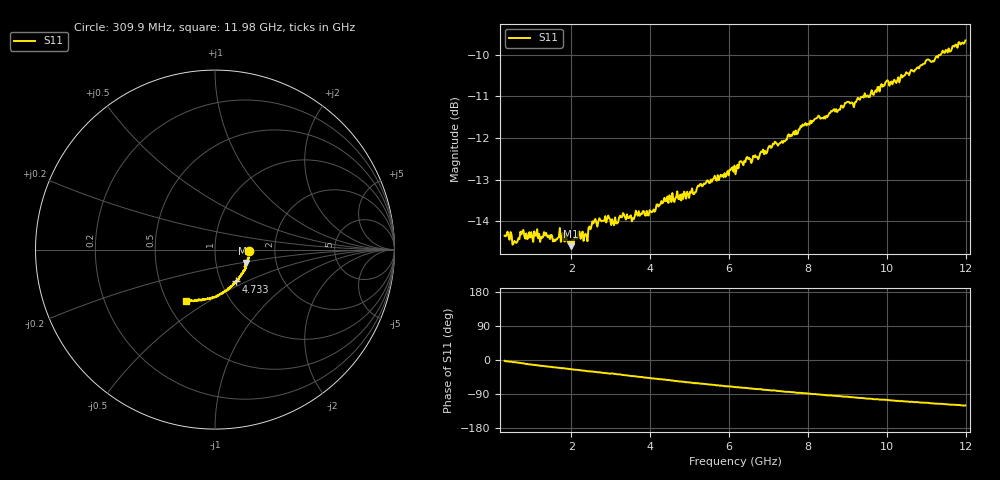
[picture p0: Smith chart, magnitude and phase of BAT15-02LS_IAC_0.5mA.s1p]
! Infineon Technologies  Discrete & RF Semiconductors
! BAT15-02ELS
! IAC = 0.5 mA
! One-Port S-Parameters
# Hz  S  MA  R  50
!f  S11
!Hz  Mag  Ang
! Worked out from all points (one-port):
!   468 points, 309.9 MHz to 11.98 GHz, reference 50 ohm
!   lowest |S11| = -14.6 dB at 1.984 GHz (marker M1), VSWR 1.46, Z = 69.6 - j10.8 ohm
!   |S11| at or under -10 dB: start of sweep to 11.36 GHz
!   S11 on the Smith chart (normalised r, x): 309.9 MHz: 1.47, -0.02; 4.733 GHz: 1.17, -0.44; 11.98 GHz: 0.62, -0.40
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3.0985e8  0.1916 -2.1
4.347875e8  0.1895 -4.3
5.59725e8  0.1889 -5.3
7.59625e8  0.194 -8.7
8.59575e8  0.1929 -10.9
1.10945e9  0.1916 -13.8
1.784112e9  0.1932 -21.5
1.984012e9  0.1862 -23.7
2.233888e9  0.19 -26.9
2.358825e9  0.1926 -28.6
2.583712e9  0.1999 -31.3
2.90855e9  0.2008 -35.3
3.133438e9  0.1984 -37.2
3.233388e9  0.2025 -37.9
3.90805e9  0.2052 -46.6
4.382812e9  0.211 -52.2
4.70765e9  0.2122 -56.1
4.732638e9  0.2119 -56.8
6.156925e9  0.2271 -71.3
6.431788e9  0.2377 -73.9
6.731638e9  0.2368 -76.9
7.6062e9  0.2541 -84.9
8.230888e9  0.2657 -90.8
8.430788e9  0.265 -92.7
9.080462e9  0.2769 -97.9
1.052974e10  0.3003 -110.0
1.102949e10  0.3122 -113.1
1.197901e10  0.329 -119.9
